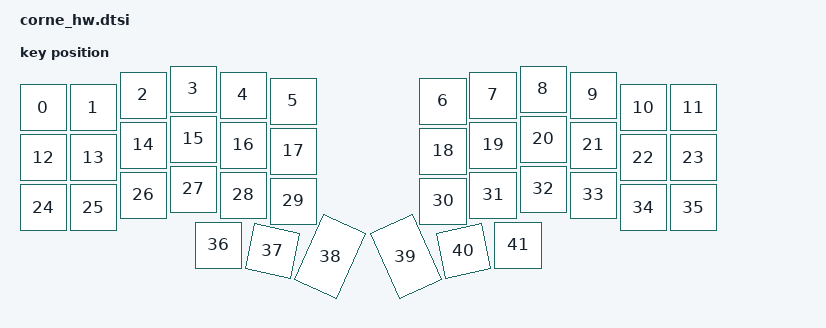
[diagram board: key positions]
#include <physical_layouts.dtsi>

/ {
    chosen {
        zmk,physical-layout = &physical_layout0;
    };

    physical_layout0: physical_layout_0 {
        compatible = "zmk,physical-layout";
        display-name = "6 Column";

        kscan = <&kscan0>;
        transform = <&default_transform>; 

        keys  //                     w   h    x    y      rot    rx    ry
            = <&key_physical_attrs 100 100    0   37        0     0     0>
            , <&key_physical_attrs 100 100  100   37        0     0     0>
            , <&key_physical_attrs 100 100  200   12        0     0     0>
            , <&key_physical_attrs 100 100  300    0        0     0     0>
            , <&key_physical_attrs 100 100  400   12        0     0     0>
            , <&key_physical_attrs 100 100  500   24        0     0     0>
            , <&key_physical_attrs 100 100  800   24        0     0     0>
            , <&key_physical_attrs 100 100  900   12        0     0     0>
            , <&key_physical_attrs 100 100 1000    0        0     0     0>
            , <&key_physical_attrs 100 100 1100   12        0     0     0>
            , <&key_physical_attrs 100 100 1200   37        0     0     0>
            , <&key_physical_attrs 100 100 1300   37        0     0     0>
            , <&key_physical_attrs 100 100    0  137        0     0     0>
            , <&key_physical_attrs 100 100  100  137        0     0     0>
            , <&key_physical_attrs 100 100  200  112        0     0     0>
            , <&key_physical_attrs 100 100  300  100        0     0     0>
            , <&key_physical_attrs 100 100  400  112        0     0     0>
            , <&key_physical_attrs 100 100  500  124        0     0     0>
            , <&key_physical_attrs 100 100  800  124        0     0     0>
            , <&key_physical_attrs 100 100  900  112        0     0     0>
            , <&key_physical_attrs 100 100 1000  100        0     0     0>
            , <&key_physical_attrs 100 100 1100  112        0     0     0>
            , <&key_physical_attrs 100 100 1200  137        0     0     0>
            , <&key_physical_attrs 100 100 1300  137        0     0     0>
            , <&key_physical_attrs 100 100    0  237        0     0     0>
            , <&key_physical_attrs 100 100  100  237        0     0     0>
            , <&key_physical_attrs 100 100  200  212        0     0     0>
            , <&key_physical_attrs 100 100  300  200        0     0     0>
            , <&key_physical_attrs 100 100  400  212        0     0     0>
            , <&key_physical_attrs 100 100  500  224        0     0     0>
            , <&key_physical_attrs 100 100  800  224        0     0     0>
            , <&key_physical_attrs 100 100  900  212        0     0     0>
            , <&key_physical_attrs 100 100 1000  200        0     0     0>
            , <&key_physical_attrs 100 100 1100  212        0     0     0>
            , <&key_physical_attrs 100 100 1200  237        0     0     0>
            , <&key_physical_attrs 100 100 1300  237        0     0     0>
            , <&key_physical_attrs 100 100  350  312        0     0     0>
            , <&key_physical_attrs 100 100  450  312     1200   450   412>
            , <&key_physical_attrs 100 150  548  283     2400   548   433>
            , <&key_physical_attrs 100 150  752  283 (-2400)   852   433>
            , <&key_physical_attrs 100 100  850  312 (-1200)   950   412>
            , <&key_physical_attrs 100 100  950  312        0     0     0>
            ;
    };
};
